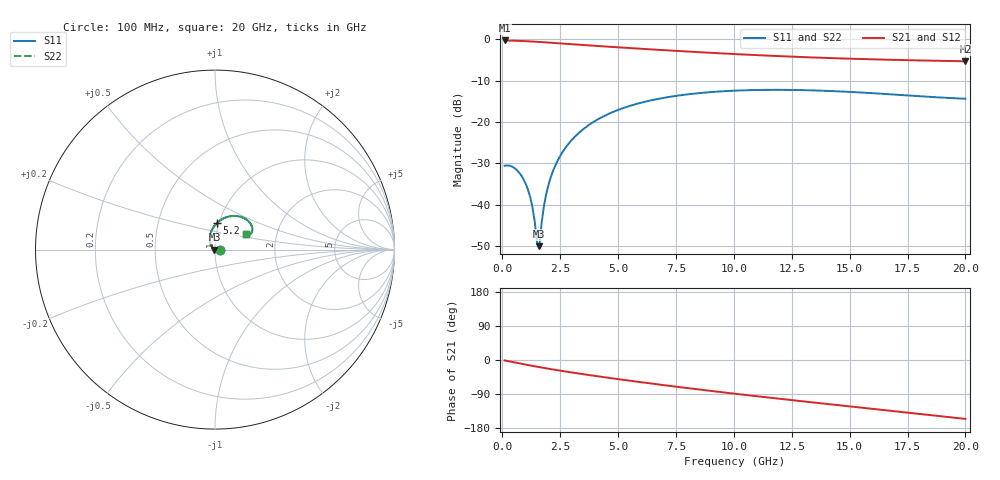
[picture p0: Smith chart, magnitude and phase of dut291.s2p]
! Created with skrf 1.9.0 (http://scikit-rf.org).
# GHz S RI R 50.0
!freq ReS11 ImS11 ReS21 ImS21 ReS12 ImS12 ReS22 ImS22
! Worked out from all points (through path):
!   200 points, 100 MHz to 20 GHz, reference 50 ohm
!   highest |S21| = -0.26 dB at 100 MHz (marker M1); lowest = -5.3 dB at 20 GHz (marker M2)
!   group delay of S21, straight-line fit = 20.6 ps
!   lowest |S11| = -50.1 dB at 1.6 GHz (marker M3), VSWR 1.01, Z = 49.7 - j0.121 ohm
!   |S11| at or under -10 dB: start of sweep to end of sweep
!   |S22| runs from -50.1 to -12.2 dB; largest |S21 - S12| = 3.1e-15
!   S11 on the Smith chart (normalised r, x): 100 MHz: 1.06, -0.00; 5.2 GHz: 0.97, +0.29; 20 GHz: 1.38, +0.25
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0.1  0.0294 -0.00228  0.97 -0.0201  0.97 -0.0201  0.0294 -0.00228
0.4  0.0282 -0.00688  0.9625 -0.0817  0.9625 -0.0817  0.0282 -0.00688
0.6  0.0252 -0.00875  0.9543 -0.1222  0.9543 -0.1222  0.0252 -0.00875
1  0.0154 -0.00956  0.9306 -0.1987  0.9306 -0.1987  0.0154 -0.00956
1.2  0.00948 -0.00811  0.9156 -0.2344  0.9156 -0.2344  0.00948 -0.00811
1.3  0.00638 -0.00688  0.9075 -0.2515  0.9075 -0.2515  0.00638 -0.00688
1.4  0.00327 -0.00532  0.899 -0.2681  0.899 -0.2681  0.00327 -0.00532
1.5  0.000162 -0.00343  0.8901 -0.2843  0.8901 -0.2843  0.000162 -0.00343
1.6  -0.00289 -0.00121  0.8809 -0.3  0.8809 -0.3  -0.00289 -0.00121
1.7  -0.00587 0.00131  0.8714 -0.3152  0.8714 -0.3152  -0.00587 0.00131
1.8  -0.00874 0.00412  0.8617 -0.33  0.8617 -0.33  -0.00874 0.00412
2  -0.0141 0.0105  0.8416 -0.3581  0.8416 -0.3581  -0.0141 0.0105
2.2  -0.0187 0.0179  0.8209 -0.3845  0.8209 -0.3845  -0.0187 0.0179
2.7  -0.0266 0.0393  0.767 -0.4434  0.767 -0.4434  -0.0266 0.0393
3.5  -0.0274 0.0773  0.678 -0.5199  0.678 -0.5199  -0.0274 0.0773
4.3  -0.0154 0.1133  0.588 -0.5787  0.588 -0.5787  -0.0154 0.1133
5.2  0.00888 0.1464  0.4875 -0.6273  0.4875 -0.6273  0.00888 0.1464
6.8  0.0647 0.1808  0.315 -0.6755  0.315 -0.6755  0.0647 0.1808
10.1  0.1658 0.1733  0.00695 -0.6624  0.00695 -0.6624  0.1658 0.1733
13.4  0.2069 0.1243  -0.2251 -0.5606  -0.2251 -0.5606  0.2069 0.1243
16.7  0.1982 0.0879  -0.3907 -0.4104  -0.3907 -0.4104  0.1982 0.0879
20  0.1704 0.087  -0.4938 -0.2259  -0.4938 -0.2259  0.1704 0.087
